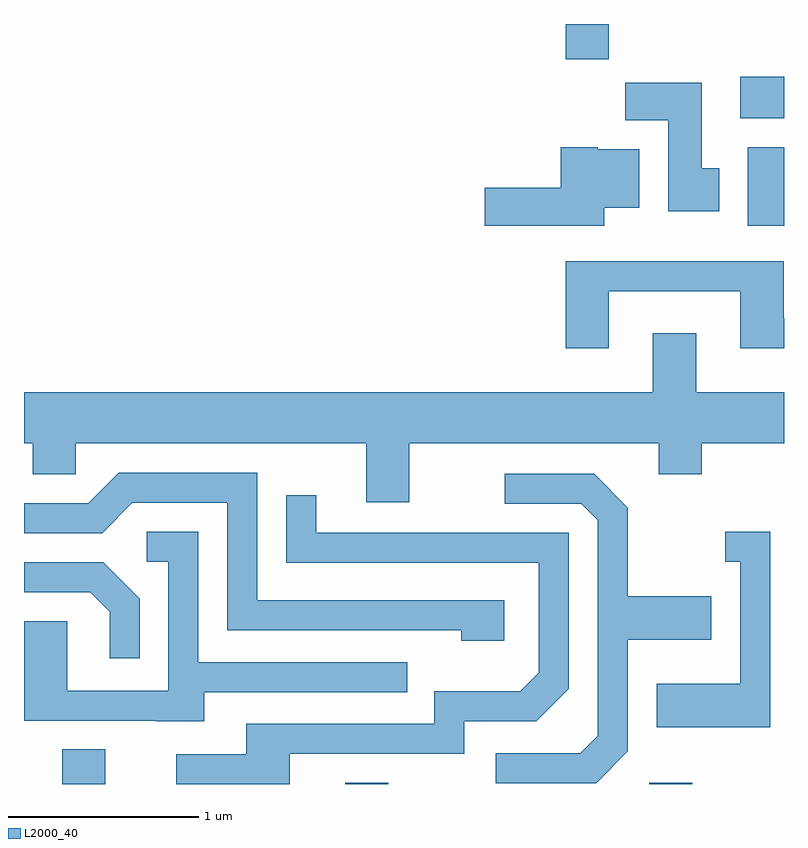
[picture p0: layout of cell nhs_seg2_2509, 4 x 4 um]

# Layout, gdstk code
import gdstk
lib = gdstk.Library(unit=1e-6, precision=1e-09)
def R(c, l, rs):  # rectangles x0, y0, x1, y1
    for r in rs: c.add(gdstk.rectangle(r[:2], r[2:], *l))
def P(c, l, *ps):  # polygons
    for p in ps: c.add(gdstk.Polygon(p, *l))
L2000_40 = (2000, 40)

nhs_seg2_2509 = lib.new_cell('nhs_seg2_2509')
R(nhs_seg2_2509, L2000_40, [(257.811,1099.802,258.039,1099.984), (259.301,1099.802,259.529,1099.809), (260.901,1099.802,261.129,1099.809), (261.421,1102.741,261.611,1103.154), (261.381,1103.306,261.611,1103.524), (260.461,1103.616,260.689,1103.802)])
P(nhs_seg2_2509, L2000_40, [(261.269,1103.044),(261.179,1103.044),(261.179,1103.494),(260.776,1103.494),(260.776,1103.296),(261.001,1103.296),(261.001,1102.816),(261.269,1102.816)],
  [(260.664,1102.836),(260.849,1102.836),(260.849,1103.144),(260.63,1103.144),(260.63,1103.154),(260.436,1103.154),(260.436,1102.939),(260.036,1102.939),(260.036,1102.741),(260.664,1102.741)],
  [(260.689,1102.396),(261.381,1102.396),(261.381,1102.096),(261.611,1102.096),(261.611,1102.254),(261.609,1102.254),(261.609,1102.554),(260.461,1102.554),(260.461,1102.096),(260.689,1102.096)],
  [(259.639,1101.596),(260.951,1101.596),(260.951,1101.431),(261.179,1101.431),(261.179,1101.596),(261.611,1101.596),(261.611,1101.864),(261.149,1101.864),(261.149,1102.174),(260.921,1102.174),(260.921,1101.864),(257.611,1101.864),(257.611,1101.596),(257.656,1101.596),(257.656,1101.431),(257.884,1101.431),(257.884,1101.596),(259.411,1101.596),(259.411,1101.286),(259.639,1101.286)],
  [(260.139,1100.769),(258.839,1100.769),(258.839,1101.439),(258.109,1101.439),(257.949,1101.279),(257.611,1101.279),(257.611,1101.121),(258.022,1101.121),(258.182,1101.281),(258.681,1101.281),(258.681,1100.611),(259.911,1100.611),(259.911,1100.556),(260.139,1100.556)],
  [(260.789,1099.974),(260.789,1100.561),(261.229,1100.561),(261.229,1100.789),(260.789,1100.789),(260.789,1101.257),(260.611,1101.434),(260.142,1101.434),(260.142,1101.276),(260.544,1101.276),(260.631,1101.189),(260.631,1100.057),(260.539,1099.964),(260.093,1099.964),(260.093,1099.806),(260.622,1099.806)],
  [(259.009,1099.961),(259.929,1099.961),(259.929,1100.131),(260.307,1100.131),(260.479,1100.304),(260.479,1101.124),(259.149,1101.124),(259.149,1101.323),(258.991,1101.323),(258.991,1100.966),(260.321,1100.966),(260.321,1100.387),(260.224,1100.289),(259.771,1100.289),(259.771,1100.119),(258.781,1100.119),(258.781,1099.959),(258.413,1099.959),(258.413,1099.802),(259.009,1099.802)],
  [(261.539,1101.129),(261.303,1101.129),(261.303,1100.971),(261.381,1100.971),(261.381,1100.329),(260.941,1100.329),(260.941,1100.101),(261.539,1100.101)],
  [(258.559,1100.286),(259.628,1100.286),(259.628,1100.444),(258.529,1100.444),(258.529,1101.129),(258.258,1101.129),(258.258,1100.971),(258.371,1100.971),(258.371,1100.294),(257.839,1100.294),(257.839,1100.659),(257.611,1100.659),(257.611,1100.136),(258.305,1100.136),(258.305,1100.131),(258.559,1100.131)],
  [(258.219,1100.777),(258.027,1100.969),(257.611,1100.969),(257.611,1100.811),(257.959,1100.811),(258.061,1100.709),(258.061,1100.463),(258.219,1100.463)])

lib.write_gds('nhs_seg2_2509.gds')
